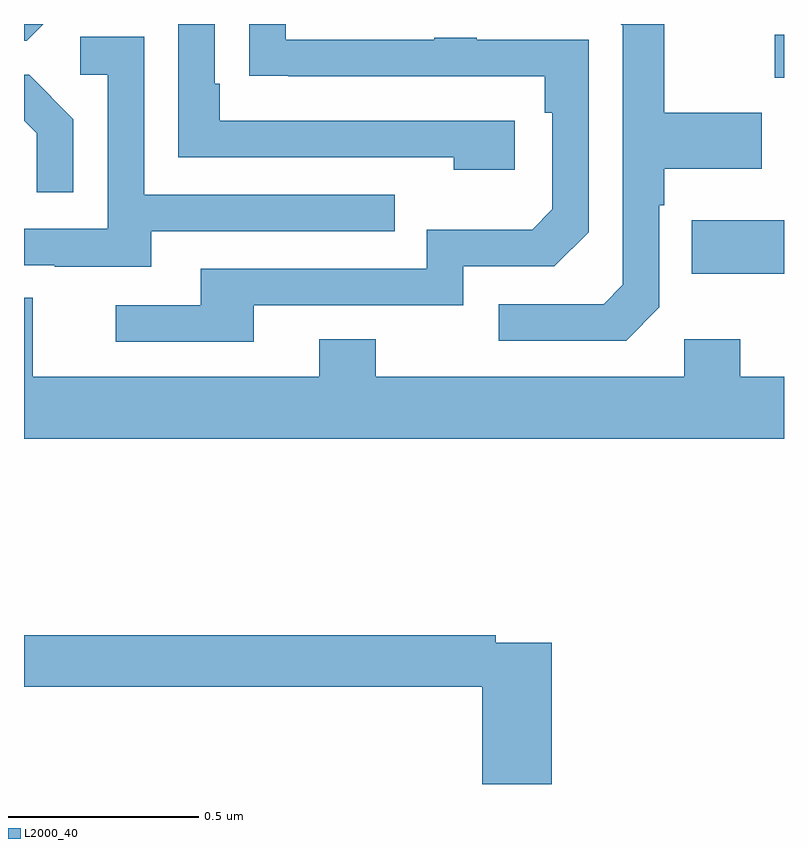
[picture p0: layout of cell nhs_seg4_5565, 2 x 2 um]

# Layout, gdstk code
import gdstk
lib = gdstk.Library(unit=1e-6, precision=1e-09)
def R(c, l, rs):  # rectangles x0, y0, x1, y1
    for r in rs: c.add(gdstk.rectangle(r[:2], r[2:], *l))
def P(c, l, *ps):  # polygons
    for p in ps: c.add(gdstk.Polygon(p, *l))
L2000_40 = (2000, 40)

nhs_seg4_5565 = lib.new_cell('nhs_seg4_5565')
R(nhs_seg4_5565, L2000_40, [(180.757,809.243,181,809.383), (180.975,809.759,181,809.872)])
P(nhs_seg4_5565, L2000_40, [(180.672,809.154),(180.672,809.423),(180.685,809.423),(180.685,809.519),(180.941,809.519),(180.941,809.667),(180.685,809.667),(180.685,809.9),(180.571,809.9),(180.576,809.895),(180.576,809.214),(180.525,809.163),(180.249,809.163),(180.249,809.067),(180.585,809.067)],
  [(179.605,809.16),(180.156,809.16),(180.156,809.262),(180.396,809.262),(180.486,809.352),(180.486,809.859),(180.191,809.859),(180.191,809.864),(180.079,809.864),(180.079,809.859),(179.689,809.859),(179.689,809.9),(179.593,809.9),(179.593,809.764),(179.695,809.764),(179.695,809.763),(180.37,809.763),(180.37,809.666),(180.39,809.666),(180.39,809.412),(180.337,809.359),(180.06,809.359),(180.06,809.256),(179.465,809.256),(179.465,809.16),(179.241,809.16),(179.241,809.064),(179.605,809.064)],
  [(179.051,809.9),(179,809.9),(179,809.856),(179.007,809.856)],
  [(180.292,809.646),(179.515,809.646),(179.515,809.743),(179.502,809.743),(179.502,809.9),(179.406,809.9),(179.406,809.55),(180.131,809.55),(180.131,809.516),(180.292,809.516)],
  [(179.335,809.355),(179.975,809.355),(179.975,809.451),(179.316,809.451),(179.316,809.867),(179.148,809.867),(179.148,809.766),(179.22,809.766),(179.22,809.361),(179,809.361),(179,809.265),(179.081,809.265),(179.081,809.261),(179.335,809.261)],
  [(179.13,809.65),(179.014,809.766),(179,809.766),(179,809.646),(179.033,809.613),(179.033,809.457),(179.13,809.457)],
  [(181,808.972),(180.885,808.972),(180.885,809.071),(180.738,809.071),(180.738,808.972),(179.925,808.972),(179.925,809.071),(179.777,809.071),(179.777,808.972),(179.023,808.972),(179.023,809.18),(179,809.18),(179,808.808),(181,808.808)],
  [(180.389,808.272),(180.242,808.272),(180.242,808.292),(179,808.292),(179,808.156),(180.206,808.156),(180.206,807.9),(180.389,807.9)])

lib.write_gds('nhs_seg4_5565.gds')
